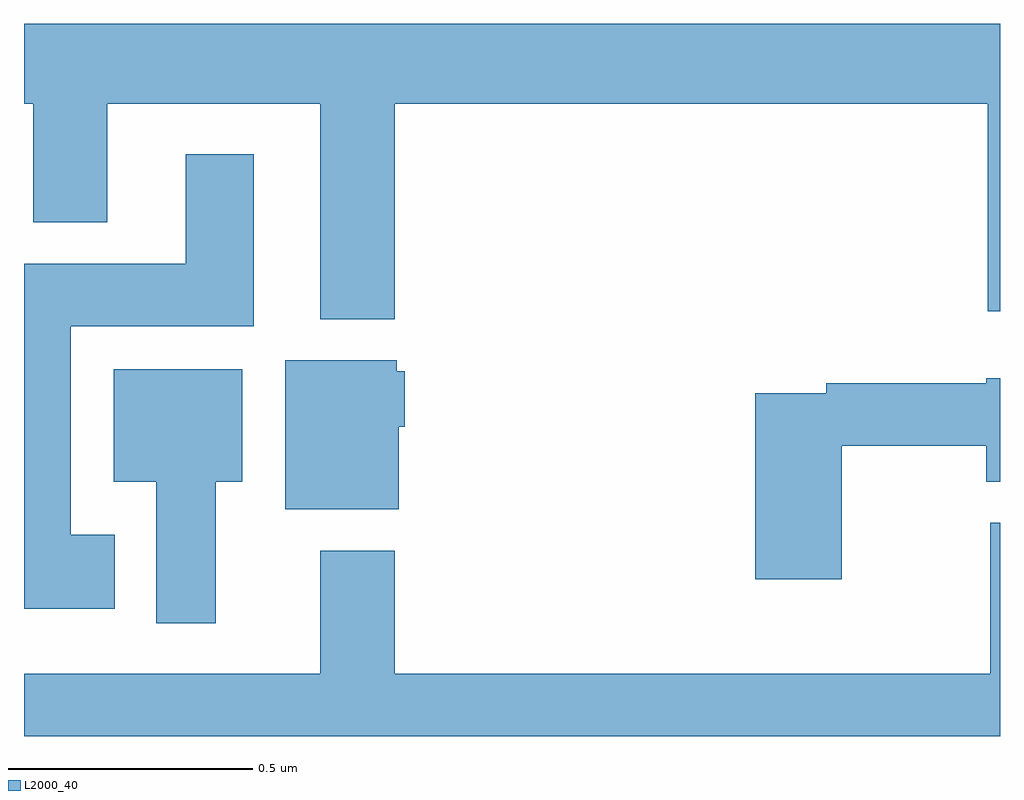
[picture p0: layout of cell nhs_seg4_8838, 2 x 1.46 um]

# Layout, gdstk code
import gdstk
lib = gdstk.Library(unit=1e-6, precision=1e-09)
def P(c, l, *ps):  # polygons
    for p in ps: c.add(gdstk.Polygon(p, *l))
L2000_40 = (2000, 40)

nhs_seg4_8838 = lib.new_cell('nhs_seg4_8838')
P(nhs_seg4_8838, L2000_40, [(220.76,754.196),(221.975,754.196),(221.975,753.771),(222,753.771),(222,754.36),(220,754.36),(220,754.196),(220.019,754.196),(220.019,753.953),(220.171,753.953),(220.171,754.196),(220.607,754.196),(220.607,753.755),(220.76,753.755)],
  [(220.186,753.313),(220.096,753.313),(220.096,753.74),(220.471,753.74),(220.471,754.093),(220.331,754.093),(220.331,753.868),(220,753.868),(220,753.161),(220.186,753.161)],
  [(220.768,753.534),(220.78,753.534),(220.78,753.648),(220.764,753.648),(220.764,753.67),(220.535,753.67),(220.535,753.365),(220.768,753.365)],
  [(220.393,753.422),(220.447,753.422),(220.447,753.652),(220.184,753.652),(220.184,753.422),(220.271,753.422),(220.271,753.132),(220.393,753.132)],
  [(221.676,753.495),(221.972,753.495),(221.972,753.422),(222,753.422),(222,753.634),(221.972,753.634),(221.972,753.623),(221.644,753.623),(221.644,753.603),(221.498,753.603),(221.498,753.222),(221.676,753.222)],
  [(220,752.9),(222,752.9),(222,753.337),(221.98,753.337),(221.98,753.028),(220.76,753.028),(220.76,753.28),(220.607,753.28),(220.607,753.028),(220,753.028)])

lib.write_gds('nhs_seg4_8838.gds')
